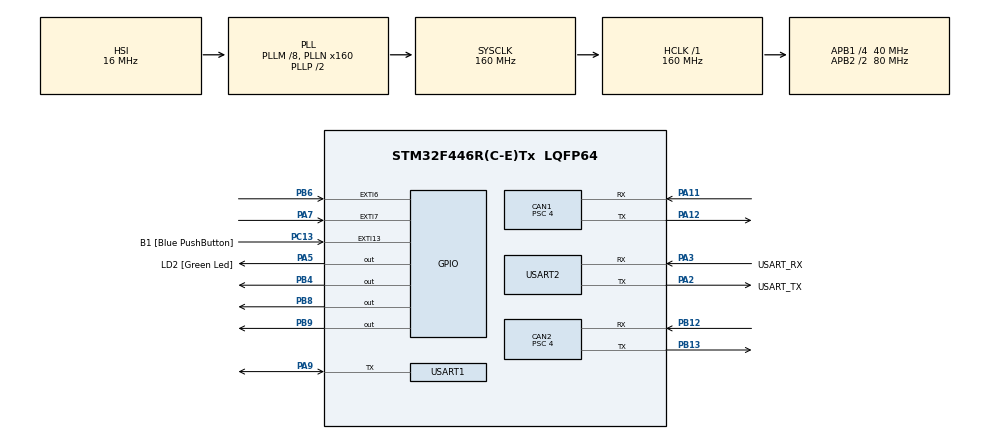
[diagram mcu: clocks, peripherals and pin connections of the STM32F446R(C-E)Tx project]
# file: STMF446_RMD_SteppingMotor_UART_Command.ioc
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CAN1.BS1=CAN_BS1_2TQ
CAN1.BS2=CAN_BS2_7TQ
CAN1.CalculateBaudRate=1000000
CAN1.CalculateTimeBit=1000
CAN1.CalculateTimeQuantum=100.0
CAN1.Prescaler=4
CAN1.SJW=CAN_SJW_2TQ
CAN2.BS1=CAN_BS1_2TQ
CAN2.BS2=CAN_BS2_7TQ
CAN2.CalculateBaudRate=1000000
CAN2.CalculateTimeBit=1000
CAN2.CalculateTimeQuantum=100.0
CAN2.Prescaler=4
CAN2.SJW=CAN_SJW_2TQ
Mcu.Family=STM32F4
Mcu.Name=STM32F446R(C-E)Tx
Mcu.Package=LQFP64
NVIC.CAN1_RX0_IRQn=true\:0\:0\:true\:false\:true\:true\:true\:true
NVIC.CAN1_TX_IRQn=true\:0\:0\:true\:false\:true\:true\:true\:true
NVIC.CAN2_RX0_IRQn=true\:0\:0\:false\:false\:true\:true\:true\:true
NVIC.CAN2_TX_IRQn=true\:0\:0\:false\:false\:true\:true\:true\:true
NVIC.EXTI15_10_IRQn=true\:1\:0\:true\:false\:true\:true\:true\:true
NVIC.EXTI9_5_IRQn=true\:1\:0\:true\:false\:true\:true\:true\:true
NVIC.PriorityGroup=NVIC_PRIORITYGROUP_4
NVIC.TIM3_IRQn=true\:2\:0\:true\:false\:true\:true\:true\:true
NVIC.USART2_IRQn=true\:0\:0\:true\:false\:true\:true\:true\:true
PA11.GPIO_Speed=GPIO_SPEED_FREQ_VERY_HIGH
PA11.Mode=CAN_Activate
PA11.Signal=CAN1_RX
PA12.GPIO_PuPd=GPIO_PULLUP
PA12.GPIO_Speed=GPIO_SPEED_FREQ_VERY_HIGH
PA12.Mode=CAN_Activate
PA12.Signal=CAN1_TX
PA13.GPIO_Label=TMS
PA13.Mode=Serial_Wire
PA13.Signal=SYS_JTMS-SWDIO
PA14.GPIO_Label=TCK
PA14.Mode=Serial_Wire
PA14.Signal=SYS_JTCK-SWCLK
PA2.GPIO_Label=USART_TX
PA2.Mode=Asynchronous
PA2.Signal=USART2_TX
PA3.GPIO_Label=USART_RX
PA3.Mode=Asynchronous
PA3.Signal=USART2_RX
PA5.GPIO_Label=LD2 [Green Led]
PA5.Signal=GPIO_Output
PA7.GPIO_ModeDefaultEXTI=GPIO_MODE_IT_RISING_FALLING
PA7.Signal=GPXTI7
PA9.GPIO_Speed=GPIO_SPEED_FREQ_HIGH
PA9.Mode=Half_duplex(single_wire_mode)
PA9.Signal=USART1_TX
PB12.Mode=CAN_Activate
PB12.Signal=CAN2_RX
PB13.Mode=CAN_Activate
PB13.Signal=CAN2_TX
PB3.GPIO_Label=SWO
PB3.Signal=SYS_JTDO-SWO
PB4.Signal=GPIO_Output
PB6.GPIO_ModeDefaultEXTI=GPIO_MODE_IT_RISING_FALLING
PB6.Signal=GPXTI6
PB8.GPIO_Speed=GPIO_SPEED_FREQ_VERY_HIGH
PB8.Signal=GPIO_Output
PB9.GPIO_Speed=GPIO_SPEED_FREQ_VERY_HIGH
PB9.Signal=GPIO_Output
PC13.GPIO_Label=B1 [Blue PushButton]
PC13.GPIO_ModeDefaultEXTI=GPIO_MODE_IT_FALLING
PC13.Signal=GPXTI13
PC14-OSC32_IN.Mode=LSE-External-Oscillator
PC14-OSC32_IN.Signal=RCC_OSC32_IN
PC15-OSC32_OUT.Mode=LSE-External-Oscillator
PC15-OSC32_OUT.Signal=RCC_OSC32_OUT
PH0-OSC_IN.Mode=HSE-External-Oscillator
PH0-OSC_IN.Signal=RCC_OSC_IN
PH1-OSC_OUT.Mode=HSE-External-Oscillator
PH1-OSC_OUT.Signal=RCC_OSC_OUT
ProjectManager.HeapSize=0x200
ProjectManager.StackSize=0x400
ProjectManager.TargetToolchain=STM32CubeIDE
RCC.48MHZClocksFreq_Value=84000000
RCC.AHBFreq_Value=160000000
RCC.APB1CLKDivider=RCC_HCLK_DIV4
RCC.APB1Freq_Value=40000000
RCC.APB1TimFreq_Value=80000000
RCC.APB2CLKDivider=RCC_HCLK_DIV2
RCC.APB2Freq_Value=80000000
RCC.APB2TimFreq_Value=160000000
RCC.CortexFreq_Value=160000000
RCC.FLatency-AdvancedSettings=FLASH_LATENCY_5
RCC.HCLKFreq_Value=160000000
RCC.HSE_VALUE=8000000
RCC.HSI_VALUE=16000000
RCC.PLLM=8
RCC.PLLN=160
RCC.SYSCLKFreq_VALUE=160000000
RCC.SYSCLKSource=RCC_SYSCLKSOURCE_PLLCLK
RCC.USBFreq_Value=160000000
RCC.VCOOutputFreq_Value=320000000
TIM3.Channel-Output\ Compare1\ No\ Output=TIM_CHANNEL_1
TIM3.Prescaler=160-1
USART1.BaudRate=500000
USART1.VirtualMode=VM_ASYNC
USART2.VirtualMode=VM_ASYNC
VP_TIM3_VS_ClockSourceINT.Mode=Internal
VP_TIM3_VS_no_output1.Mode=Output Compare1 No Output
board=NUCLEO-F446RE

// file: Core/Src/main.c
/* USER CODE BEGIN Header */
/**
  ******************************************************************************
  * @file           : main.c
  * @brief          : Main program body
  ******************************************************************************
  * @attention
  *
  * Copyright (c) 2022 STMicroelectronics.
  * All rights reserved.
  *
  * This software is licensed under terms that can be found in the LICENSE file
  * in the root directory of this software component.
  * If no LICENSE file comes with this software, it is provided AS-IS.
  *
  ******************************************************************************
  */
/* USER CODE END Header */
#include "main.h"

/* USER CODE BEGIN Includes */
#include<stdio.h>
#include "tmc/ic/TMC2209/TMC2209.h"
#include <math.h>
/* USER CODE END Includes */

/* USER CODE BEGIN PTD */
typedef struct {
	float acceleration;
	volatile unsigned int minStepInterval;
	void (*dirFunc)(int);
	void (*stepFunc)();

	uint8_t homing;
	unsigned int c0;
	volatile int stepPosition;

	volatile int dir; // 1 or -1
	volatile int dir_inv; //set 1 to reverse the dir

	volatile int pull_off; //set pull_off distance
	volatile int stall_off;

	volatile int seeking_vel;
	volatile int homing_vel;

	volatile unsigned int totalSteps;

	volatile char movementDone;
	volatile unsigned int rampUpStepCount;
	volatile unsigned int n; // index
	volatile float d; // current interval length
	volatile unsigned long di; // d -> unsigned  di
	volatile unsigned int stepCount;

}stepperInfo;   //stepperInfo型の構造体にメンバを格納

typedef struct{
	volatile unsigned int checkcount;
}checkerInfo;

/* USER CODE END PTD */

/* USER CODE BEGIN PD */
#define TMC2209_CRC(data, length) tmc_CRC8(data, length, 1)

/* USER CODE END PD */

 CAN_HandleTypeDef hcan1;
CAN_HandleTypeDef hcan2;

TIM_HandleTypeDef htim3;

UART_HandleTypeDef huart1;
UART_HandleTypeDef huart2;

/* USER CODE BEGIN PV */
//SteppingMotorの設定
TMC2209TypeDef TMC2209; //TMC2209の設定などの定義
ConfigurationTypeDef TMC2209_config; //TMC2209の設定
volatile stepperInfo steppers[1];    //stepperInfo型の配列stepperにNUM_STEPPERSで定義した値を代入
volatile checkerInfo currentget[1];
uint8_t end_stop_state = 0;
uint8_t homing_flag = 0;
uint8_t current_stall = 0;
//RMDの設定
CAN_FilterTypeDef sFilterConfig;
CAN_TxHeaderTypeDef TxHeader;
CAN_RxHeaderTypeDef RxHeader;
uint8_t buffersize=10;
uint8_t TxData[10];
uint8_t RxData[10];
uint8_t can1_data[10];
uint8_t can2_data[10];
uint8_t UART1_Data[10];
uint32_t canid;
uint32_t TxMailbox;
uint8_t cmd_data = 0x00;
uint8_t get_uart_flag = 0;
uint8_t home_position_state =0;
uint8_t end_flag = 0; //canを受信したかどうかのflag
uint8_t nextcan_flag = 0;
uint8_t get_can1_flag=0;
uint8_t get_can2_flag=0;
uint8_t selectmode_flag=0;
uint16_t p_getintdata=0;
int Writecom=0x00;
int Readcom=0x00;
char RMD_cmd;
float t_position[2];
int step_position[4];
float p_getdata=0.0;
float t_position[2];
float l1=200.0;
float l2=200.0;

/* USER CODE END PV */

void SystemClock_Config(void);
static void MX_GPIO_Init(void);
static void MX_USART2_UART_Init(void);
static void MX_CAN1_Init(void);
static void MX_TIM3_Init(void);
static void MX_USART1_UART_Init(void);
static void MX_CAN2_Init(void);
/* USER CODE BEGIN PFP */
static uint8_t reset(void);
static uint8_t restore(void);
/* USER CODE END PFP */

/* USER CODE BEGIN 0 */
void tmc2209_readWriteArray(uint8_t channel, uint8_t *data, size_t writeLength, size_t readLength)
{
	//set your uart read write
	//UART_readWrite(channelToUART(channel), data, writeLength, readLength);
	HAL_HalfDuplex_EnableTransmitter(&huart1);
	HAL_UART_Transmit(&huart1, data, writeLength,3000);

	if(readLength > 0){
		HAL_HalfDuplex_EnableReceiver(&huart1);
		HAL_UART_Receive(&huart1, data, readLength, 3000);
	}
}

uint8_t tmc2209_CRC8(uint8_t *data, size_t length)
{
	return TMC2209_CRC(data, length);
}
uint8_t uart_data;
char tx_data[]="get_data\r\n";
int flag = 1;

static uint8_t reset()
{
	//StepDir_init(STEPDIR_PRECISION);
	//StepDir_setPins(0, Pins.STEP, Pins.DIR, Pins.DIAG);

	return tmc2209_reset(&TMC2209);
}

static uint8_t restore()
{
	return tmc2209_restore(&TMC2209);
}

void TMC2209_INIT()
{
	tmc_fillCRC8Table(0x07, true, 1);

	TMC2209_config.reset = reset;
	TMC2209_config.restore = restore;
	tmc2209_init(&TMC2209, 0, 0, &TMC2209_config, &tmc2209_defaultRegisterResetState[0]);

	//restore();
}

static inline TMC2209TypeDef *motorToIC(uint8_t motor)
{
	UNUSED(motor);

	return &TMC2209;
}

void HAL_GPIO_EXTI_Callback(uint16_t GPIO_Pin)
{
	//stepper 0 end stop senssor
	if(GPIO_Pin == GPIO_PIN_6 ){
		if(!HAL_GPIO_ReadPin(GPIOB, GPIO_PIN_6)){
			end_stop_state |= 1;
		}
		if(HAL_GPIO_ReadPin(GPIOB, GPIO_PIN_6)){
			end_stop_state &= ~1;
		}
	}
	if(GPIO_Pin == GPIO_PIN_7 ){
		if(!HAL_GPIO_ReadPin(GPIOB, GPIO_PIN_7)){
			current_stall|= 0;
		}
		if(HAL_GPIO_ReadPin(GPIOB, GPIO_PIN_7)){
			current_stall = 1;
		}
	}
}
void Step0(){                                       //step pin
	//pull+

	HAL_GPIO_WritePin(GPIOB, GPIO_PIN_9, GPIO_PIN_RESET);
	HAL_GPIO_WritePin(GPIOB, GPIO_PIN_9, GPIO_PIN_SET);
	/*
	 * pull-
	 * HAL_GPIO_WritePin(GPIOB, GPIO_PIN_5, GPIO_PIN_SET);
	 * HAL_GPIO_WritePin(GPIOB, GPIO_PIN_5, GPIO_PIN_RESET);
	 */
}

void Dir0(int dir){
	HAL_GPIO_WritePin(GPIOB, GPIO_PIN_8, dir); //Dir0関数にdirピンを指定して格納
}

void resetStepperInfo(stepperInfo* si){    //resetStepperInfo関数に引数をstepperInfo構造隊にポイント型変数siとして与える
	si->n = 0;  //変数*siがメンバnにアクセス.した値に0を代入する
	si->d = 0;
	si->di = 0;
	si->stepCount = 0;
	si->rampUpStepCount = 0;
	si->totalSteps = 0;
	si->stepPosition = 0;
	si->movementDone = 0;
}

void resetStepper(volatile stepperInfo* si){    //resetStepper関数に引数をstepperInfo構造隊にポイント型変数siとして与える
	si->c0 = si->acceleration;      //変数*siがメンバc0にアクセス.した値に変数*siがメンバaccelerationにアクセス.した値を代入する
	si->d = si->c0;
	si->di = si->d;
	si->stepCount = 0;
	si->n = 0;
	si->rampUpStepCount = 0;
	si->movementDone = 0;
}

volatile uint8_t remainingSteppersFlag = 0; //remainingSteppersFlagをuint8_t型で定義し、初期化

void prepareMovement(int steps){
	if(steps == 0){
		return;
	}
	volatile stepperInfo* si = &steppers[0];
	if(si->dir_inv){
		si->dirFunc( steps < 0 ? 0 : 1);
		si->dir = steps > 0 ? -1:1;
	}else{
		si->dirFunc( steps < 0 ? 1 : 0);
		si->dir = steps > 0 ? 1:-1;
	}
		si->totalSteps = abs(steps);
		resetStepper(si);
		remainingSteppersFlag |= (1 << 0);

}

void prepareAbsoluteMovement(int absolute_steps){   //prepareAbsoluteMovementで与えられたステップ数だけモータを回す(main文から）
	printf("absolute_steps:%d\r\n",absolute_steps);
	volatile stepperInfo* si = &steppers[0];	//steppers[0]のアドレスをstepperInfo* si に代入
	int steps = absolute_steps - si->stepPosition;	//目標値からstepPositionを引いた値（stepposition=毎ステップカウントされるdirの値)
	printf("steps:%d\r\n",steps);
	if(steps == 0){
					return;
				}
	si->dirFunc( steps < 0 ? 1 : 0);
	si->dir = steps > 0 ? 1:-1;
	//printf("prepareAbsoluteMovement\r\n");
	si->totalSteps = abs(steps);	//stepsの値をアブソリュートでtotalstepsに格納
	printf("steps:%d\r\n",si->totalSteps);

	resetStepper(si);
	printf("steps:%d\r\n",steps);
	remainingSteppersFlag |= (1 << 0);
}
void currentcheck(){
	uint32_t value=0;
	volatile checkerInfo* t = &currentget[0];
		t->checkcount++;
		if(t->checkcount==2000){
			value=tmc2209_readInt(&TMC2209, TMC2209_SG_RESULT);
			printf("SG_RESULT  = %ld\r\n",value);

//			value=TMC2209_FIELD_READ(&TMC2209, TMC2209_TSTEP, TMC2209_TSTEP_MASK, TMC2209_TSTEP_SHIFT);
//			printf("tstep: %ld\r\n", value);

			tmc2209_periodicJob(&TMC2209, HAL_GetTick());
			t->checkcount=0;
		}
}
volatile uint8_t nextStepperFlag = 0;

void setNextInterruptInterval(){

	unsigned int mind = 999999;
//	currentcheck();
		if( ((1 << 0)& remainingSteppersFlag) && steppers[0].di < mind ){
			mind = steppers[0].di;
		}
		nextStepperFlag = 0;

			if( (1 << 0) && steppers[0].di == mind ){
				nextStepperFlag |= (1 << 0);
			}

		__HAL_TIM_SET_COMPARE(&htim3, TIM_CHANNEL_1, mind);		//mindにコンペアを設定
			//printf("mind:%d \r\n",mind);

	if (remainingSteppersFlag == 0){
		__HAL_TIM_SET_COMPARE(&htim3, TIM_CHANNEL_1, 65500);    //65500→コンペアマッチさせない
	}

	__HAL_TIM_SET_COMPARE(&htim3, TIM_CHANNEL_1, mind);
	return;

}

void HAL_TIM_OC_DelayElapsedCallback(TIM_HandleTypeDef *htim){      //指定したコンペアを超えた時発火
	//HAL_TIM_OC_Stop_IT(&htim3, TIM_CHANNEL_1);

	if(htim == &htim3){
	unsigned int tmpCtr = __HAL_TIM_GET_COMPARE(&htim3, TIM_CHANNEL_1);	//指定されたタイマーチャンネルのコンペアを所得
	__HAL_TIM_SET_COMPARE(&htim3, TIM_CHANNEL_1, 65500);			//コンペアを65500にセット

	if( homing_flag & (1 << 0)){
				if(end_stop_state & (1 << 0)){
					remainingSteppersFlag &= ~(1 << 0);
				}
			}
	if ( ! (nextStepperFlag & (1 << 0)) ){				//nextStepperFlagが真でない(0なら)
			steppers[0].di -= tmpCtr;           //tmpCtrの値からsteppers[i].di引いた値を新しくsteppers[i].diに代入
		}
		//printf("steppers:%ld \r\n",steppers[0].di);

		volatile stepperInfo* s = &steppers[0];

		if( (s->stepCount) < (s->totalSteps)&& !(current_stall)  ){		//1周ごとにカウントしたstepCountがabs(steps)より小さかったら==動作が終了するまで
			s->stepFunc();
			s->stepCount++;							//カウントし続ける
			s->stepPosition += s->dir;		//dir(+もしくはー(dirの向き）を加算してstepPositionに格納
			if ( (s->stepCount) >= (s->totalSteps) ){	//stepCountがtotalStepsを超えたとき
				s->movementDone = 1;	//movementDoneを1にする
				remainingSteppersFlag &= ~(1 << 0);
			}
		}

		if (s->rampUpStepCount == 0){
			s->n++;									//sにnを代入して、nをプラス1する
			s->d = s->d - (2*s->d) / (4*s->n +1);	//加減速遅延時間
			if (s->d <= s->minStepInterval ){		//加減速遅延時間がminStepIntervalより短いなら（定数で指定）
				s->d = s->minStepInterval;			//minStepIntervalを加減速遅延時間にする
				s->rampUpStepCount = s->stepCount;	//rampUpStepCountはstepCountとする
			}
			if (s->stepCount >= (s->totalSteps / 2) ){  //目標値から現在のステップを引いた値の1/2よりstepCountが大きくなったとき
				s->rampUpStepCount = s->stepCount;		//rampUpStepCountはstepCountとする
			}
		} else if ( s->stepCount >= s->totalSteps - s->rampUpStepCount) {	//目標値から現在のステップを引いた値からrampUpStepCountを引いた値がstepCountより小さいなら
			s->d = (s->d * (4 * s->n + 1)) / (4 * s->n + 1 -2);				//減速の時のステップ
			s->n--;		//sにnを代入し、nから1を引く
		}
		s->di = s->d;	//計算結果sをstepperInfoのメンバdに代入したものをメンバdiに代入
		//printf("stepPosition:%ld \r\n",s->stepPosition);
		setNextInterruptInterval();
		__HAL_TIM_SET_COUNTER(&htim3, 0);
	}
}

void sensorStateInit(){							//割り込みリセット
	if( ! HAL_GPIO_ReadPin(GPIOA, GPIO_PIN_6)){	//割り込みピンが真でない(1でない=0なら)
		end_stop_state |= 1;					//end_stop_stateに左辺か右辺が1なら1を代入
	}
}

void stallguard_back(){
	prepareMovement(steppers[0].stall_off);	//stall_off
	current_stall=0;
	return;
}

void runAndWait(){
	setNextInterruptInterval();
	while(remainingSteppersFlag && !(current_stall));
	if(current_stall==1){
		stallguard_back();
	}
	HAL_Delay(100);
	end_flag=1;
	//printf("posi%d\r\n",re->totalSteps);
}
void AbsoluteReset(){
	volatile stepperInfo* re = &steppers[0];

	re->n = 0;  //変数*siがメンバnにアクセス.した値に0を代入する
	re->d = 0;
	re->di = 0;
	re->stepCount = 0;
	re->rampUpStepCount = 0;
	re->totalSteps = 0;
	re->stepPosition = 0;
	printf("RestOK\r\n");
	end_flag=1;
}

void stepperHoming(){
	homing_flag |= (1 << 0);
	//seeking
	steppers[0].minStepInterval = steppers[0].seeking_vel;	//ホームピンに反応するまでモータ回す
	prepareMovement( -100000000);
	runAndWait();
	HAL_Delay(500);
	//pull-off

	homing_flag &= ~(1 << 0);								//homing_flagが反応したらpull_offだけモータ回す
	prepareMovement(steppers[0].pull_off);
	runAndWait();
	HAL_Delay(500);
	//homing

	homing_flag |= (1 << 0);								//ホームピンに反応するまでモータ回す
	steppers[0].minStepInterval = steppers[0].homing_vel;
	prepareMovement( -100000000);
	runAndWait();
	HAL_Delay(500);
	//pull-off
	homing_flag &= ~(1 << 0);
	prepareMovement(steppers[0].pull_off);
	runAndWait();
	HAL_Delay(500);

	steppers[0].stepPosition = 0;
	steppers[0].homing = 1;
	steppers[0].minStepInterval = 500;
	printf("homing:\r\n");

}
void MotorOFF(){
	int32_t value = 0;

	value = 0;
	TMC2209_FIELD_UPDATE(&TMC2209,TMC2209_IHOLD_IRUN, TMC2209_IHOLD_MASK, TMC2209_IHOLD_SHIFT, value);
	tmc2209_periodicJob(&TMC2209, HAL_GetTick());
	HAL_Delay(100);
	value=TMC2209_FIELD_READ(&TMC2209, TMC2209_IHOLD_IRUN, TMC2209_IHOLD_MASK, TMC2209_IHOLD_SHIFT);	//保持電流
	printf("IHOLD: %ld\r\n", value);

	value = 0;
	value = TMC2209_FIELD_READ(&TMC2209, TMC2209_PWMCONF, TMC2209_FREEWHEEL_MASK, 20);
	tmc2209_periodicJob(&TMC2209, HAL_GetTick());
	printf("Freewheeling: %ld\r\n", value);
	HAL_Delay(100);
	value = 1;
	TMC2209_FIELD_UPDATE(&TMC2209,TMC2209_PWMCONF, TMC2209_FREEWHEEL_MASK, 20, value);
	printf("Freewheeling: %ld\r\n", value);

	end_flag=1;

}

void InvertDir(){
	int32_t value = 0;

	value = 0;
	TMC2209_FIELD_UPDATE(&TMC2209,TMC2209_GCONF, TMC2209_SHAFT_SHIFT, TMC2209_SHAFT_MASK, value);
	tmc2209_periodicJob(&TMC2209, HAL_GetTick());
	HAL_Delay(100);
	value=TMC2209_FIELD_READ(&TMC2209, TMC2209_GCONF, TMC2209_SHAFT_SHIFT, TMC2209_SHAFT_MASK);	//保持電流
	printf("IHOLD: %ld\r\n", value);
}

void TMCsetup(){
	int32_t mstep_value = 0;
	int32_t toff_value = 0;
	int32_t microstep_value = 0;
	int32_t IRUN_value = 0;
	int32_t IHOLD_value = 0;
	int32_t IHOLDDELAY_value= 0;
	int32_t stallgard_setup_value=0;
	int32_t TCOOLTHRS_value=0;
	int32_t SEMAX_value=0;
	int32_t TBL_value = 0;
	int32_t stealthChop_value = 0;
	int32_t autoscale_value = 0;
	int32_t PWMAuto_value = 0;
	int32_t PWMAuto_scale = 0;
	int32_t value = 0;

	IRUN_value = 22;
	TMC2209_FIELD_UPDATE(&TMC2209, TMC2209_IHOLD_IRUN, TMC2209_IRUN_MASK, TMC2209_IRUN_SHIFT, IRUN_value);	//実行電流
	tmc2209_periodicJob(&TMC2209, HAL_GetTick());
	HAL_Delay(100);
	IRUN_value=TMC2209_FIELD_READ(&TMC2209, TMC2209_IHOLD_IRUN, TMC2209_IRUN_MASK, TMC2209_IRUN_SHIFT);
	printf("IRUN: %ld\r\n", IRUN_value);

	IHOLD_value= 16;																						//モーター待機時の電流の設定
	TMC2209_FIELD_UPDATE(&TMC2209,TMC2209_IHOLD_IRUN, TMC2209_IHOLD_MASK, TMC2209_IHOLD_SHIFT, IHOLD_value);
	tmc2209_periodicJob(&TMC2209, HAL_GetTick());
	HAL_Delay(100);
	IHOLD_value=TMC2209_FIELD_READ(&TMC2209, TMC2209_IHOLD_IRUN, TMC2209_IHOLD_MASK, TMC2209_IHOLD_SHIFT);	//保持電流
	printf("IHOLD: %ld\r\n", IHOLD_value);

	value=0;
	value = TMC2209_FIELD_READ(&TMC2209, TMC2209_GCONF, TMC2209_PDN_DISABLE_MASK,TMC2209_PDN_DISABLE_SHIFT);
	printf("pdn_disable : %ld\r\n", value);
	value = 1;
	TMC2209_FIELD_UPDATE(&TMC2209, TMC2209_GCONF, TMC2209_PDN_DISABLE_MASK, TMC2209_PDN_DISABLE_SHIFT, value);
	tmc2209_periodicJob(&TMC2209, HAL_GetTick());
	value=TMC2209_FIELD_READ(&TMC2209, TMC2209_GCONF, TMC2209_PDN_DISABLE_MASK, TMC2209_PDN_DISABLE_SHIFT);
	printf("pdn_disable : %ld\r\n", value);

	TCOOLTHRS_value=300;
	tmc2209_writeInt(&TMC2209, TMC2209_TCOOLTHRS, TCOOLTHRS_value);
	tmc2209_periodicJob(&TMC2209, HAL_GetTick());
	printf("TCOOLTHRS: %ld\r\n", TCOOLTHRS_value);

	value=0;
	value = TMC2209_FIELD_READ(&TMC2209, TMC2209_GCONF, TMC2209_EN_SPREADCYCLE_MASK,TMC2209_EN_SPREADCYCLE_SHIFT);
	printf("SPREADCYCLE : %ld\r\n", value);
	value = 0;
	TMC2209_FIELD_UPDATE(&TMC2209, TMC2209_GCONF, TMC2209_EN_SPREADCYCLE_MASK, TMC2209_EN_SPREADCYCLE_SHIFT ,value);
	tmc2209_periodicJob(&TMC2209, HAL_GetTick());
	value=TMC2209_FIELD_READ(&TMC2209, TMC2209_GCONF, TMC2209_EN_SPREADCYCLE_MASK,TMC2209_EN_SPREADCYCLE_SHIFT);
	printf("SPREADCYCLE : %ld\r\n", value);

	value=10;
	tmc2209_writeInt(&TMC2209, TMC2209_TPWMTHRS, value);
	tmc2209_periodicJob(&TMC2209, HAL_GetTick());
	printf("TPWMTHRS: %ld\r\n", value);

	value=0;
	value = TMC2209_FIELD_READ(&TMC2209, TMC2209_GCONF, TMC2209_INTERNAL_RSENSE_MASK,TMC2209_INTERNAL_RSENSE_SHIFT);
	printf("RSENSE : %ld\r\n", value);
	value = 0;
	TMC2209_FIELD_UPDATE(&TMC2209, TMC2209_GCONF, TMC2209_INTERNAL_RSENSE_MASK, TMC2209_INTERNAL_RSENSE_SHIFT, value);
	tmc2209_periodicJob(&TMC2209, HAL_GetTick());
	value=TMC2209_FIELD_READ(&TMC2209, TMC2209_GCONF, TMC2209_INTERNAL_RSENSE_MASK, TMC2209_INTERNAL_RSENSE_SHIFT);
	printf("RSENSE : %ld\r\n", value);

	value=0;
	value = TMC2209_FIELD_READ(&TMC2209, TMC2209_PWMCONF, TMC2209_PWM_FREQ_MASK, TMC2209_PWM_FREQ_SHIFT);
	printf("PWM_FREQ : %ld\r\n", value);
	value=1;
	TMC2209_FIELD_UPDATE(&TMC2209, TMC2209_PWMCONF, TMC2209_PWM_FREQ_MASK, TMC2209_PWM_FREQ_SHIFT, value);
	value = TMC2209_FIELD_READ(&TMC2209, TMC2209_PWMCONF, TMC2209_PWM_FREQ_MASK, TMC2209_PWM_FREQ_SHIFT);
	printf("PWM_FREQ : %ld\r\n", value);

	value=0;
	value = TMC2209_FIELD_READ(&TMC2209,TMC2209_COOLCONF, TMC2209_SEIMIN_MASK, TMC2209_SEIMIN_SHIFT);
	printf("SEIMIN : %ld\r\n", value);

	value=0;
	value = TMC2209_FIELD_READ(&TMC2209, TMC2209_DRVSTATUS, TMC2209_CS_ACTUAL_MASK, TMC2209_CS_ACTUAL_SHIFT);
	printf("DRVSTATUS : %ld\r\n", value);

	mstep_value = TMC2209_FIELD_READ(&TMC2209, TMC2209_GCONF, TMC2209_MSTEP_REG_SELECT_MASK,TMC2209_MSTEP_REG_SELECT_SHIFT);	//uartでのmicrostepの有効化
	printf("mstep_before : %ld\r\n", mstep_value);
	mstep_value = 1;
	TMC2209_FIELD_UPDATE(&TMC2209, TMC2209_GCONF, TMC2209_MSTEP_REG_SELECT_MASK, TMC2209_MSTEP_REG_SELECT_SHIFT,mstep_value);
	tmc2209_periodicJob(&TMC2209, HAL_GetTick());
	mstep_value=TMC2209_FIELD_READ(&TMC2209, TMC2209_GCONF, TMC2209_MSTEP_REG_SELECT_MASK, TMC2209_MSTEP_REG_SELECT_SHIFT);
	printf("mstep_after : %ld\r\n", mstep_value);

	toff_value=TMC2209_FIELD_READ(&TMC2209, TMC2209_CHOPCONF, TMC2209_TOFF_MASK, TMC2209_TOFF_SHIFT);	//保持トルクの設定
	printf("toff_before : %ld\r\n", toff_value);
	toff_value = 3;
	TMC2209_FIELD_UPDATE(&TMC2209, TMC2209_CHOPCONF, TMC2209_TOFF_MASK, TMC2209_TOFF_SHIFT,toff_value);
	tmc2209_periodicJob(&TMC2209, HAL_GetTick());
	toff_value=TMC2209_FIELD_READ(&TMC2209, TMC2209_CHOPCONF, TMC2209_TOFF_MASK, TMC2209_TOFF_SHIFT);
	printf("toff_after : %ld\r\n", toff_value);

	microstep_value = 256 >> TMC2209_FIELD_READ(&TMC2209, TMC2209_CHOPCONF, TMC2209_MRES_MASK, TMC2209_MRES_SHIFT);	//microstepの設定
	printf("microstep_before : %ld\r\n", microstep_value);
	microstep_value = 4;
	TMC2209_FIELD_UPDATE(&TMC2209, TMC2209_CHOPCONF, TMC2209_MRES_MASK, TMC2209_MRES_SHIFT,microstep_value);
	tmc2209_periodicJob(&TMC2209, HAL_GetTick());
	microstep_value = 256 >> TMC2209_FIELD_READ(&TMC2209, TMC2209_CHOPCONF, TMC2209_MRES_MASK, TMC2209_MRES_SHIFT);
	printf("microstep_after : %ld\r\n", microstep_value);

	IHOLDDELAY_value=4;
	TMC2209_FIELD_UPDATE(&TMC2209, TMC2209_IHOLD_IRUN, TMC2209_IHOLDDELAY_MASK, TMC2209_IHOLDDELAY_SHIFT, IHOLDDELAY_value);
	tmc2209_periodicJob(&TMC2209, HAL_GetTick());
	IHOLDDELAY_value=TMC2209_FIELD_READ(&TMC2209, TMC2209_IHOLD_IRUN, TMC2209_IHOLDDELAY_MASK, TMC2209_IHOLDDELAY_SHIFT);
	printf("IHOLDDELAY: %ld\r\n", IHOLDDELAY_value);

	stallgard_setup_value=10;											//SG_RESULTと比較して、
	tmc2209_writeInt(&TMC2209, TMC2209_SGTHRS, stallgard_setup_value);
	tmc2209_periodicJob(&TMC2209, HAL_GetTick());
	stallgard_setup_value = tmc2209_readInt(&TMC2209, TMC2209_SGTHRS);
	printf("SGTHRS: %ld\r\n", stallgard_setup_value);

	stealthChop_value = 100;
	TMC2209_FIELD_UPDATE(&TMC2209, TMC2209_PWMCONF, TMC2209_PWM_GRAD_MASK, TMC2209_PWM_GRAD_SHIFT, stealthChop_value);
	stealthChop_value = TMC2209_FIELD_READ(&TMC2209, TMC2209_PWMCONF, TMC2209_PWM_GRAD_MASK, TMC2209_PWM_GRAD_SHIFT);
	tmc2209_periodicJob(&TMC2209, HAL_GetTick());
	printf("PWM_GRAD: %ld\r\n", stealthChop_value);

	value=5;
	TMC2209_FIELD_UPDATE(&TMC2209, TMC2209_COOLCONF, TMC2209_SEMIN_MASK, TMC2209_SEMIN_SHIFT, value);
	tmc2209_periodicJob(&TMC2209, HAL_GetTick());
	printf("SEMIN: %ld\r\n", value);

	SEMAX_value = 2;
	TMC2209_FIELD_UPDATE(&TMC2209, TMC2209_COOLCONF, TMC2209_SEMAX_MASK, TMC2209_SEMAX_SHIFT, SEMAX_value);
	tmc2209_periodicJob(&TMC2209, HAL_GetTick());
	printf("SEMAX: %ld\r\n", SEMAX_value);

	TBL_value = TMC2209_FIELD_READ(&TMC2209, TMC2209_CHOPCONF, TMC2209_TBL_MASK, TMC2209_TBL_SHIFT);
	tmc2209_periodicJob(&TMC2209, HAL_GetTick());
	TBL_value = 1;
	TMC2209_FIELD_UPDATE(&TMC2209, TMC2209_CHOPCONF, TMC2209_TBL_MASK, TMC2209_TBL_SHIFT, TBL_value);
	TBL_value = TMC2209_FIELD_READ(&TMC2209, TMC2209_CHOPCONF, TMC2209_TBL_MASK, TMC2209_TBL_SHIFT);
	printf("TBL: %ld\r\n", TBL_value);

	stealthChop_value = TMC2209_FIELD_READ(&TMC2209, TMC2209_PWMCONF, TMC2209_PWM_GRAD_MASK, TMC2209_PWM_GRAD_SHIFT);
	tmc2209_periodicJob(&TMC2209, HAL_GetTick());
	printf("PWM_GRAD: %ld\r\n", stealthChop_value);

	autoscale_value = TMC2209_FIELD_READ(&TMC2209, TMC2209_PWMCONF, TMC2209_PWM_AUTOSCALE_MASK, TMC2209_PWM_AUTOSCALE_SHIFT);
	tmc2209_periodicJob(&TMC2209, HAL_GetTick());
	printf("autoscale: %ld\r\n", autoscale_value);

	PWMAuto_value = tmc2209_readInt(&TMC2209,TMC2209_PWM_AUTO);
	tmc2209_periodicJob(&TMC2209, HAL_GetTick());
	printf("PWMAuto: %ld\r\n", PWMAuto_value);

	PWMAuto_scale = tmc2209_readInt(&TMC2209,TMC2209_PWMSCALE);
	tmc2209_periodicJob(&TMC2209, HAL_GetTick());
	printf("PWMSCALE: %ld\r\n", PWMAuto_scale);

	value = 0;
	value = TMC2209_FIELD_READ(&TMC2209, 0x07, TMC2209_FCLKTRIM_MASK, TMC2209_FCLKTRIM_SHIFT);

	tmc2209_periodicJob(&TMC2209, HAL_GetTick());
	printf("frequency: %ld\r\n", value);

	end_flag=1;

}

void RMDCommand(){
//	int i = 0;
	int count=0;
	TxHeader.StdId=0x141;
	TxHeader.IDE = CAN_ID_STD;
	TxHeader.DLC = 0x08;
	TxHeader.RTR = CAN_RTR_DATA;
	TxHeader.TransmitGlobalTime = DISABLE;
	TxData[1] = 0x00;
	TxData[2] = 0x00;
	TxData[3] = 0x00;
	TxData[4] = 0x00;
	TxData[5] = 0x00;
	TxData[6] = 0x00;
	TxData[7] = 0x00;
	switch(Writecom){
		case 0x31:
			TxData[0] = 0x31;	//PI設定
			TxData[2] = UART1_Data[2];	//anglePidKp
			TxData[3] = UART1_Data[3];	//anglePidKi
			TxData[4] = UART1_Data[4];	//speedPidKp
			TxData[5] = UART1_Data[5];	//speedPidKi
			TxData[6] = UART1_Data[6];	//iqPidKp
			TxData[7] = UART1_Data[7];	//iqPidKi
		case 0x32:
			TxData[0] = 0x32;	//PI設定
			TxData[2] = UART1_Data[2];	//anglePidKp
			TxData[3] = UART1_Data[3];	//anglePidKi
			TxData[4] = UART1_Data[4];	//speedPidKp
			TxData[5] = UART1_Data[5];	//speedPidKi
			TxData[6] = UART1_Data[6];	//iqPidKp
			TxData[7] = UART1_Data[7];	//iqPidKi
			break;
		case 0x34:
			TxData[0] = 0x34;	//accelePI設定
			TxData[4] = UART1_Data[4];	//speedI
			TxData[5] = UART1_Data[5];	//TorqueP
			TxData[6] = UART1_Data[6];	//TorqueI
			TxData[7] = UART1_Data[7];	//PosI
			break;
		case 0xA1:
			TxData[0] = 0xA1;	//Torque設定
			TxData[4] = UART1_Data[4];	//currentlow
			TxData[5] = UART1_Data[5];	//currenthigh
			break;
		case 0xA4:
			TxData[0] = 0xA4;
			TxData[1] = 0x00;
			TxData[2] = 0x2C;	//speed low
			TxData[3] = 0x01;	//speed high
			TxData[4] = UART1_Data[4];	//poslow
			TxData[5] = UART1_Data[5];
			TxData[6] = 0x00;
			TxData[7] = 0x00;	//poshigh
			break;
		default:
			printf("No Data Writecom\r\n");
			end_flag=1;
			break;
		}
	Writecom=0x00;
	switch(Readcom){
		case 0x30:
			TxData[0] = 0x30;
			break;
		case 0x33:
			TxData[0] = 0x33;
			break;
		case 0x9C:
			TxData[0] = 0x9C;
			break;
		case 0xA1:
			TxData[0] = 0xA1;
		case 0x90:
			TxData[0] = 0x90;
			break;
		default:
			printf("No Data Readcom\r\n");
			end_flag=1;
			break;
	}
	Readcom=0x00;
	if(0 < HAL_CAN_GetTxMailboxesFreeLevel(&hcan1) ){
		HAL_CAN_AddTxMessage(&hcan1,&TxHeader,TxData,&TxMailbox);
		HAL_Delay(1);
//		printf("Can Send\r\n");
		while(!nextcan_flag){
//			printf("Mailboxes: %d\r\n",HAL_CAN_GetTxMailboxesFreeLevel(&hcan1));
			HAL_CAN_AddTxMessage(&hcan1,&TxHeader,TxData,&TxMailbox);
			HAL_Delay(1);
			count++;
			if(count==10){
				nextcan_flag=1;
				HAL_CAN_Stop (&hcan1);
				//HAL_CAN_AbortTxRequest(&hcan1,TxMailbox);
				HAL_CAN_Start(&hcan1);
				printf("CAN RESET\r\n");
			}
		}
		nextcan_flag=0;
		count=0;
	}else{
		printf("Mailbox_congestion\r\n");
		nextcan_flag=0;
		end_flag=1;
	}
}
void SetUpRMD(){
	UART1_Data[4] = 0x50;
	UART1_Data[5] = 0x46;
	Writecom = 0xA4;
	RMDCommand();
}
void RMDLeftTurn(){
	UART1_Data[4] = 0xE0;
	UART1_Data[5] = 0x2E;
	Writecom=0xA4;
	RMDCommand();
}
void RMDRightTurn(){
	UART1_Data[4] = 0xC0;
	UART1_Data[5] = 0x5D;
	Writecom=0xA4;
	RMDCommand();
}
void checkRMDdata(){
	int RxBitshift[4];
	RxBitshift[0]=0;
	RxBitshift[1]=0;
	RxBitshift[2]=0;
	RxBitshift[3]=0;
	Readcom=0x30;
	RMDCommand();
	printf("0x30\r\n");
	printf("Position loop Kp :%d \r\n",RxData[2]);
	printf("Position loop Ki :%d \r\n",RxData[3]);
	printf("Speed loop Kp :%d \r\n",RxData[4]);
	printf("Speed loop Ki :%d \r\n",RxData[5]);
	printf("Torque loop Kp :%d \r\n",RxData[6]);
	printf("Torque loop Ki :%d \r\n",RxData[7]);

	Readcom=0x33;
	RMDCommand();
	printf("0x33\r\n");
	printf("Position loop P:%d \r\n",RxData[2]);
	printf("Position loop I :%d \r\n",RxData[3]);
	printf("Speed loop P :%d \r\n",RxData[4]);
	printf("Speed loop I :%d \r\n",RxData[5]);
	printf("Torque loop P :%d \r\n",RxData[6]);
	printf("Torque loop I :%d \r\n",RxData[7]);

	Readcom=0x9C;
	RMDCommand();
	printf("0x9C\r\n");
	RxBitshift[0]=RxData[2] & 0xFF;
	RxBitshift[0]+=(RxData[3] & 0xFF) << 8;
	RxBitshift[1]=RxData[4] & 0xFF;
	RxBitshift[1]+=(RxData[5] & 0xFF) << 8;
	RxBitshift[2]=RxData[6] & 0xFF;
	RxBitshift[2]+=(RxData[7] & 0xFF) << 8;
	printf("Motor temperature:%d \r\n",RxData[1]);
	printf("Torque current :%d \r\n",RxBitshift[0]);
	printf("Speed :%d \r\n",RxBitshift[1]);
	printf("Encoder position:%d \r\n",RxBitshift[2]);
}
void RMDPIDSetting(){
	UART1_Data[2] = 0x64;
	UART1_Data[3] = 0x64;
	UART1_Data[4] = 0x28;
	UART1_Data[5] = 0xE;
	UART1_Data[6] = 0x14;
	UART1_Data[7] = 0x14;
	Writecom=0x31;
	RMDCommand();
}

void UART1_InIt(){
	UART1_Data[0] = 0x00;
	UART1_Data[1] = 0x00;
	UART1_Data[2] = 0x00;
	UART1_Data[3] = 0x00;
	UART1_Data[4] = 0x00;
	UART1_Data[5] = 0x00;
	UART1_Data[6] = 0x00;
	UART1_Data[7] = 0x00;
}

void command_judgment(uint8_t *ModeSelect){
	int modeflag_count=0;
	for(uint8_t i=0; i<10 ;i++){
		ModeSelect[i]= ~(ModeSelect[i]);
		if(ModeSelect[i]==0){
			modeflag_count++;
			}
		}
	if(modeflag_count<=8){	//動作モード
		selectmode_flag=0;
	}
	else if(modeflag_count==9){	//コマンドモード,9byte ModeSelectが0だったら
		selectmode_flag=1;
	}
}
/* USER CODE END 0 */

int main(void)
{
  /* USER CODE BEGIN 1 */
	setbuf(stdout, NULL);
  /* USER CODE END 1 */

  /* MCU Configuration--------------------------------------------------------*/

  /* Reset of all peripherals, Initializes the Flash interface and the Systick. */
  HAL_Init();

  /* Configure the system clock */
  SystemClock_Config();

  /* Initialize all configured peripherals */
  MX_GPIO_Init();
  MX_USART2_UART_Init();
  MX_CAN1_Init();
  MX_TIM3_Init();
  MX_USART1_UART_Init();
  MX_CAN2_Init();
  /* USER CODE BEGIN 2 */
  TMC2209_INIT();
  //rxbufを受信したらフラグを
  HAL_TIM_OC_Start_IT(&htim3, TIM_CHANNEL_1);
  printf("Hello\r\n");
  steppers[0].dirFunc = Dir0;
  steppers[0].stepFunc = Step0;
  steppers[0].acceleration = 1000;
  steppers[0].minStepInterval = 100;
  steppers[0].homing = 0;
  steppers[0].dir_inv = 1;
  steppers[0].seeking_vel = 100;
  steppers[0].homing_vel = 200;
  steppers[0].pull_off = 500;
  steppers[0].stall_off=10000;
  get_uart_flag=0;

sFilterConfig.FilterBank = 0;
sFilterConfig.FilterMode = CAN_FILTERMODE_IDMASK;
sFilterConfig.FilterScale = CAN_FILTERSCALE_32BIT;
sFilterConfig.FilterIdHigh = 0x0000;
sFilterConfig.FilterIdLow = 0x0000;
sFilterConfig.FilterMaskIdHigh = 0x0000;
sFilterConfig.FilterMaskIdLow = 0x0000;
sFilterConfig.FilterFIFOAssignment = CAN_RX_FIFO1;
//	sFilterConfig.FilterFIFOAssignment =CAN_FILTER_FIFO0;
sFilterConfig.FilterActivation=ENABLE;
sFilterConfig.SlaveStartFilterBank=14;

if(HAL_CAN_ConfigFilter(&hcan1,&sFilterConfig) != HAL_OK)
{
	Error_Handler();
}
if(HAL_CAN_Start(&hcan1)!=HAL_OK)
{
	Error_Handler();
}

if(HAL_CAN_ActivateNotification(&hcan1,CAN_IT_RX_FIFO0_MSG_PENDING | CAN_IT_TX_MAILBOX_EMPTY) != HAL_OK)
{
	Error_Handler();
}

printf("RMD Start\r\n");
uint8_t judgment[10];
uint8_t modeflag=0;
uint8_t checkdata[10];
uint8_t mode_select;
int16_t receive_xy_coordinate[2];
int16_t sent_data[10];

char Mode_Type[4];
float rad_data[2];
float machine_coordinate_data[2];
float tip_coordinate_data[2];
float machine_origin_rad[10];
float machine_origin_coordinate[10];
  /* USER CODE END 2 */

  /* Infinite loop */
  /* USER CODE BEGIN WHILE */
  while (1)
  {
	  //受信するまで待つ
	 	  while(!get_uart_flag){}
	 	  get_can1_flag=0;//canデータ受信用のフラグを0に
	 	  for(int i=0;i<10;i++){
	 		  judgment[i]=RxData[i];
	 	  }
	 	  command_judgment(judgment);
	 	  if(selectmode_flag==1){
	 		  mode_select=RxData[0];	//モード変更
	 		  }
	 	  else if(selectmode_flag==0){
	 		  receive_xy_coordinate[0]=RxData[0]&0xFF;	//受け取った座標データをビットシフトしてx,yの値に直す
	 		  receive_xy_coordinate[0]+= (RxData[1]&0xFF)<<8;
	 		  receive_xy_coordinate[1]=RxData[2]&0xFF;
	 		  receive_xy_coordinate[1]+= (RxData[3]&0xFF)<<8;

//	 		  tip_coordinate_data[0]=(float)receive_xy_coordinate[0];
//	 		  tip_coordinate_data[1]=(float)receive_xy_coordinate[1];
//	 		  machine_coordinate_data[0]=machine_origin_coordinate[0]+tip_coordinate_data[1];	//手先座標系から機械座標系への変換
//	 		  machine_coordinate_data[1]=machine_origin_coordinate[1]-tip_coordinate_data[0];
	 		  HAL_UART_Transmit_IT(&huart2,RxData,sizeof(RxData));
//	 		  BLDC_IK(machine_coordinate_data[0],machine_coordinate_data[1],&rad_data[0],&rad_data[1]);
	 	  }
	 	  if(home_position_state==1){	//初期位置モード
	 		  switch(mode_select){
	 		  case 0x0A:
//	 			  canid=0x01;
//	 			  EnterMotorMode();
//	 			  BLDC_CANTx();
//	 			  canid=0x02;
//	 			  EnterMotorMode();
//	 			  BLDC_CANTx();
	 			  RxData[0]=0;
	 			  break;
	 		  case 0x1A:
	 			 stepperHoming();
	 			 runAndWait();
	 			 HAL_Delay(10);

	 			  RxData[0]=0;
	 			  break;
	 		  case 0x2A:
	 			  if(selectmode_flag==0){	//初期位置の変更
//	 				  receive_xy_coordinate[0] = RxData[0]&0xFF;
//	 				  receive_xy_coordinate[0] += (RxData[1]&0xFF)<<8;
//	 				  receive_xy_coordinate[1] = RxData[2]&0xFF;
//	 				  receive_xy_coordinate[1] += (RxData[3]&0xFF)<<8;
//	 				  machine_origin_coordinate[0]=(float)receive_xy_coordinate[0];
//	 				  machine_origin_coordinate[1]=(float)receive_xy_coordinate[1];
//	 				  BLDC_IK(machine_origin_coordinate[0],machine_origin_coordinate[1],&rad_data[0],&rad_data[1]);
//	 				  machine_origin_rad[0]=rad_data[0];
//	 				  machine_origin_rad[1]=rad_data[1];
		 			  RxData[0]=0;
	 			  }
	 			  break;
	 		  }
	 	  }
	 	  else if(home_position_state==0){
	 		  switch(mode_select){	//
	 		  case 0xA0:	//動作モード
	 			  if(selectmode_flag==0){
//	 				  t_position[0] = rad_data[0];
//	 				  t_position[1] = rad_data[1];
//	 				  BLDC_MotorRotate();
	 				  prepareAbsoluteMovement(20000);
	 				  runAndWait();
	 			  }
	 			  RxData[0]=0;
	 			  break;
	 		  case 0xA1:
//	 			  t_position[0] = machine_origin_rad[0];	//アーム初期位置
//	 			  t_position[1] = machine_origin_rad[1];
//	 			  BLDC_MotorRotate();
	 			  RxData[0]=0;
	 			  break;
	 		  case 0xA2:
//	 			  t_position[0] = 0;
//	 			  t_position[1] = 0;
//	 			  BLDC_MotorRotate();
	 			  RxData[0]=0;
	 			  break;
	 		  case 0xB0:	//ティーチングモード開始
//	 			  canid=0x01;
//	 			  pack_cmd(0.0, 0.0, 0.0, 1.0, 0.0);
//	 			  BLDC_CANTx();
//	 			  canid=0x02;
//	 			  pack_cmd(0.0, 0.0, 0.0, 1.0, 0.0);
//	 			  BLDC_CANTx();
	 			  RxData[0]=0;
	 			  break;
	 		  case 0xB1:	//ティーチング決定
//	 			  canid=0x01;
//	 			  pack_cmd(0.0, 0.0, 0.0, 4.0, 0.0);
//	 			  BLDC_CANTx();
//	 			  unpack_reply();
//	 			  canid=0x02;
//	 			  pack_cmd(0.0, 0.0, 0.0, 4.0, 0.0);
//	 			  BLDC_CANTx();
//	 			  unpack_reply();
//	 			  rad_data[1]=p_getdata;
//
//	 			  BLDC_FK(rad_data[0],rad_data[1],&machine_coordinate_data[0],&machine_coordinate_data[1]);
//	 			  sent_data[0]=round(machine_origin_coordinate[1]-machine_coordinate_data[1]);	//手先座標系から機械座標系への変換
//	 			  sent_data[1]=round(machine_coordinate_data[0]-machine_origin_coordinate[0]);
//	 			  TxData[0]=sent_data[0]&0xFF;
//	 			  TxData[1]=(sent_data[0]>>8)&0xFF;
//	 		   	  TxData[2]=sent_data[1]&0xFF;
//	 			  TxData[3]=(sent_data[1]>>8)&0xFF;
	 			  HAL_UART_Transmit_IT(&huart2,TxData,sizeof(TxData));
	 			  RxData[0]=0;
	 			  break;
	 		  case 0x01:	//モーターON
//	 			  canid=0x01;
//	 			  EnterMotorMode();
//	 			  BLDC_CANTx();
//	 			  canid=0x02;
//	 			  EnterMotorMode();
//	 			  BLDC_CANTx();
	 			  RxData[0]=0;
	 			  break;
	 		  case 0x02:	//モーターOFF
//	 			  canid=0x01;
//	 			  ExitMotorMode();
//	 			  BLDC_CANTx();
//	 			  canid=0x02;
//	 			  ExitMotorMode();
//	 			  BLDC_CANTx();
	 			  RxData[0]=0;
	 			  break;
	 		 case 0xD0:
	 			 MotorOFF();
	 			 HAL_Delay(10);
	 			 break;
	 		case 0xD1:
	 			stepperHoming();
	 			runAndWait();
	 			HAL_Delay(10);
	 			break;
	 		 default:
	 			 get_can1_flag=1;
	 			 get_can2_flag=1;
	 			 break;
	 		  }
	 		  get_uart_flag=0;
	 		  while(!get_can1_flag){}
	 	  }

    /* USER CODE END WHILE */

  }
}

void SystemClock_Config(void)
{
  RCC_OscInitTypeDef RCC_OscInitStruct = {0};
  RCC_ClkInitTypeDef RCC_ClkInitStruct = {0};

  /** Configure the main internal regulator output voltage
  */
  __HAL_RCC_PWR_CLK_ENABLE();
  __HAL_PWR_VOLTAGESCALING_CONFIG(PWR_REGULATOR_VOLTAGE_SCALE1);

  /** Initializes the RCC Oscillators according to the specified parameters
  * in the RCC_OscInitTypeDef structure.
  */
  RCC_OscInitStruct.OscillatorType = RCC_OSCILLATORTYPE_HSI;
  RCC_OscInitStruct.HSIState = RCC_HSI_ON;
  RCC_OscInitStruct.HSICalibrationValue = RCC_HSICALIBRATION_DEFAULT;
  RCC_OscInitStruct.PLL.PLLState = RCC_PLL_ON;
  RCC_OscInitStruct.PLL.PLLSource = RCC_PLLSOURCE_HSI;
  RCC_OscInitStruct.PLL.PLLM = 8;
  RCC_OscInitStruct.PLL.PLLN = 160;
  RCC_OscInitStruct.PLL.PLLP = RCC_PLLP_DIV2;
  RCC_OscInitStruct.PLL.PLLQ = 2;
  RCC_OscInitStruct.PLL.PLLR = 2;
  if (HAL_RCC_OscConfig(&RCC_OscInitStruct) != HAL_OK)
  {
    Error_Handler();
  }

  /** Initializes the CPU, AHB and APB buses clocks
  */
  RCC_ClkInitStruct.ClockType = RCC_CLOCKTYPE_HCLK|RCC_CLOCKTYPE_SYSCLK
                              |RCC_CLOCKTYPE_PCLK1|RCC_CLOCKTYPE_PCLK2;
  RCC_ClkInitStruct.SYSCLKSource = RCC_SYSCLKSOURCE_PLLCLK;
  RCC_ClkInitStruct.AHBCLKDivider = RCC_SYSCLK_DIV1;
  RCC_ClkInitStruct.APB1CLKDivider = RCC_HCLK_DIV4;
  RCC_ClkInitStruct.APB2CLKDivider = RCC_HCLK_DIV2;

  if (HAL_RCC_ClockConfig(&RCC_ClkInitStruct, FLASH_LATENCY_5) != HAL_OK)
  {
    Error_Handler();
  }
}

static void MX_CAN1_Init(void)
{

  hcan1.Instance = CAN1;
  hcan1.Init.Prescaler = 4;
  hcan1.Init.Mode = CAN_MODE_NORMAL;
  hcan1.Init.SyncJumpWidth = CAN_SJW_2TQ;
  hcan1.Init.TimeSeg1 = CAN_BS1_2TQ;
  hcan1.Init.TimeSeg2 = CAN_BS2_7TQ;
  hcan1.Init.TimeTriggeredMode = DISABLE;
  hcan1.Init.AutoBusOff = DISABLE;
  hcan1.Init.AutoWakeUp = DISABLE;
  hcan1.Init.AutoRetransmission = DISABLE;
  hcan1.Init.ReceiveFifoLocked = DISABLE;
  hcan1.Init.TransmitFifoPriority = DISABLE;
  if (HAL_CAN_Init(&hcan1) != HAL_OK)
  {
    Error_Handler();
  }

}

static void MX_CAN2_Init(void)
{

  hcan2.Instance = CAN2;
  hcan2.Init.Prescaler = 4;
  hcan2.Init.Mode = CAN_MODE_NORMAL;
  hcan2.Init.SyncJumpWidth = CAN_SJW_2TQ;
  hcan2.Init.TimeSeg1 = CAN_BS1_2TQ;
  hcan2.Init.TimeSeg2 = CAN_BS2_7TQ;
  hcan2.Init.TimeTriggeredMode = DISABLE;
  hcan2.Init.AutoBusOff = DISABLE;
  hcan2.Init.AutoWakeUp = DISABLE;
  hcan2.Init.AutoRetransmission = DISABLE;
  hcan2.Init.ReceiveFifoLocked = DISABLE;
  hcan2.Init.TransmitFifoPriority = DISABLE;
  if (HAL_CAN_Init(&hcan2) != HAL_OK)
  {
    Error_Handler();
  }

}

static void MX_TIM3_Init(void)
{

  TIM_ClockConfigTypeDef sClockSourceConfig = {0};
  TIM_MasterConfigTypeDef sMasterConfig = {0};
  TIM_OC_InitTypeDef sConfigOC = {0};

  htim3.Instance = TIM3;
  htim3.Init.Prescaler = 160-1;
  htim3.Init.CounterMode = TIM_COUNTERMODE_UP;
  htim3.Init.Period = 65535;
  htim3.Init.ClockDivision = TIM_CLOCKDIVISION_DIV1;
  htim3.Init.AutoReloadPreload = TIM_AUTORELOAD_PRELOAD_DISABLE;
  if (HAL_TIM_Base_Init(&htim3) != HAL_OK)
  {
    Error_Handler();
  }
  sClockSourceConfig.ClockSource = TIM_CLOCKSOURCE_INTERNAL;
  if (HAL_TIM_ConfigClockSource(&htim3, &sClockSourceConfig) != HAL_OK)
  {
    Error_Handler();
  }
  if (HAL_TIM_OC_Init(&htim3) != HAL_OK)
  {
    Error_Handler();
  }
  sMasterConfig.MasterOutputTrigger = TIM_TRGO_RESET;
  sMasterConfig.MasterSlaveMode = TIM_MASTERSLAVEMODE_DISABLE;
  if (HAL_TIMEx_MasterConfigSynchronization(&htim3, &sMasterConfig) != HAL_OK)
  {
    Error_Handler();
  }
  sConfigOC.OCMode = TIM_OCMODE_TIMING;
  sConfigOC.Pulse = 0;
  sConfigOC.OCPolarity = TIM_OCPOLARITY_HIGH;
  sConfigOC.OCFastMode = TIM_OCFAST_DISABLE;
  if (HAL_TIM_OC_ConfigChannel(&htim3, &sConfigOC, TIM_CHANNEL_1) != HAL_OK)
  {
    Error_Handler();
  }

}

static void MX_USART1_UART_Init(void)
{

  huart1.Instance = USART1;
  huart1.Init.BaudRate = 500000;
  huart1.Init.WordLength = UART_WORDLENGTH_8B;
  huart1.Init.StopBits = UART_STOPBITS_1;
  huart1.Init.Parity = UART_PARITY_NONE;
  huart1.Init.Mode = UART_MODE_TX_RX;
  huart1.Init.HwFlowCtl = UART_HWCONTROL_NONE;
  huart1.Init.OverSampling = UART_OVERSAMPLING_16;
  if (HAL_HalfDuplex_Init(&huart1) != HAL_OK)
  {
    Error_Handler();
  }

}

static void MX_USART2_UART_Init(void)
{

  huart2.Instance = USART2;
  huart2.Init.BaudRate = 115200;
  huart2.Init.WordLength = UART_WORDLENGTH_8B;
  huart2.Init.StopBits = UART_STOPBITS_1;
  huart2.Init.Parity = UART_PARITY_NONE;
  huart2.Init.Mode = UART_MODE_TX_RX;
  huart2.Init.HwFlowCtl = UART_HWCONTROL_NONE;
  huart2.Init.OverSampling = UART_OVERSAMPLING_16;
  if (HAL_UART_Init(&huart2) != HAL_OK)
  {
    Error_Handler();
  }

}

static void MX_GPIO_Init(void)
{
  GPIO_InitTypeDef GPIO_InitStruct = {0};

  /* GPIO Ports Clock Enable */
  __HAL_RCC_GPIOC_CLK_ENABLE();
  __HAL_RCC_GPIOH_CLK_ENABLE();
  __HAL_RCC_GPIOA_CLK_ENABLE();
  __HAL_RCC_GPIOB_CLK_ENABLE();

  /*Configure GPIO pin Output Level */
  HAL_GPIO_WritePin(LD2_GPIO_Port, LD2_Pin, GPIO_PIN_RESET);

  /*Configure GPIO pin Output Level */
  HAL_GPIO_WritePin(GPIOB, GPIO_PIN_4|GPIO_PIN_8|GPIO_PIN_9, GPIO_PIN_RESET);

  /*Configure GPIO pin : B1_Pin */
  GPIO_InitStruct.Pin = B1_Pin;
  GPIO_InitStruct.Mode = GPIO_MODE_IT_FALLING;
  GPIO_InitStruct.Pull = GPIO_NOPULL;
  HAL_GPIO_Init(B1_GPIO_Port, &GPIO_InitStruct);

  /*Configure GPIO pin : LD2_Pin */
  GPIO_InitStruct.Pin = LD2_Pin;
  GPIO_InitStruct.Mode = GPIO_MODE_OUTPUT_PP;
  GPIO_InitStruct.Pull = GPIO_NOPULL;
  GPIO_InitStruct.Speed = GPIO_SPEED_FREQ_LOW;
  HAL_GPIO_Init(LD2_GPIO_Port, &GPIO_InitStruct);

  /*Configure GPIO pin : PA7 */
  GPIO_InitStruct.Pin = GPIO_PIN_7;
  GPIO_InitStruct.Mode = GPIO_MODE_IT_RISING_FALLING;
  GPIO_InitStruct.Pull = GPIO_NOPULL;
  HAL_GPIO_Init(GPIOA, &GPIO_InitStruct);

  /*Configure GPIO pin : PB4 */
  GPIO_InitStruct.Pin = GPIO_PIN_4;
  GPIO_InitStruct.Mode = GPIO_MODE_OUTPUT_PP;
  GPIO_InitStruct.Pull = GPIO_NOPULL;
  GPIO_InitStruct.Speed = GPIO_SPEED_FREQ_LOW;
  HAL_GPIO_Init(GPIOB, &GPIO_InitStruct);

  /*Configure GPIO pin : PB6 */
  GPIO_InitStruct.Pin = GPIO_PIN_6;
  GPIO_InitStruct.Mode = GPIO_MODE_IT_RISING_FALLING;
  GPIO_InitStruct.Pull = GPIO_NOPULL;
  HAL_GPIO_Init(GPIOB, &GPIO_InitStruct);

  /*Configure GPIO pins : PB8 PB9 */
  GPIO_InitStruct.Pin = GPIO_PIN_8|GPIO_PIN_9;
  GPIO_InitStruct.Mode = GPIO_MODE_OUTPUT_PP;
  GPIO_InitStruct.Pull = GPIO_NOPULL;
  GPIO_InitStruct.Speed = GPIO_SPEED_FREQ_VERY_HIGH;
  HAL_GPIO_Init(GPIOB, &GPIO_InitStruct);

  /* EXTI interrupt init*/
  HAL_NVIC_SetPriority(EXTI9_5_IRQn, 1, 0);
  HAL_NVIC_EnableIRQ(EXTI9_5_IRQn);

  HAL_NVIC_SetPriority(EXTI15_10_IRQn, 1, 0);
  HAL_NVIC_EnableIRQ(EXTI15_10_IRQn);

}

/* USER CODE BEGIN 4 */
int _write(int file, char *ptr, int len)	//printfに必要
{
  HAL_UART_Transmit(&huart2,(uint8_t *)ptr,len,10);
  return len;
}
void HAL_UART_RxCpltCallback(UART_HandleTypeDef *huart)
{
	get_uart_flag = 1;
	HAL_UART_Receive_IT(&huart2, (uint8_t *)RxData, buffersize);
}
void HAL_CAN_TxMailbox0CompleteCallback(CAN_HandleTypeDef *hcan)
{
//	  HAL_GPIO_WritePin(GPIOA,GPIO_PIN_5,1);
	  printf("TxCan\n\r");
	  nextcan_flag=1;

}

void HAL_CAN_RxFifo0MsgPendingCallback(CAN_HandleTypeDef *hcan_)
{
	get_can2_flag=1;
	//	printf("RxCan\r\n");
	HAL_CAN_GetRxMessage(&hcan2,CAN_RX_FIFO0, &RxHeader,can2_data);
}
void HAL_CAN_RxFifo1MsgPendingCallback(CAN_HandleTypeDef *hcan_)
{
	get_can1_flag=1;

	HAL_CAN_GetRxMessage(&hcan1,CAN_RX_FIFO1, &RxHeader,can1_data);

}
/* USER CODE END 4 */

void Error_Handler(void)
{
  __disable_irq();
  while (1)
  {
  }
}
